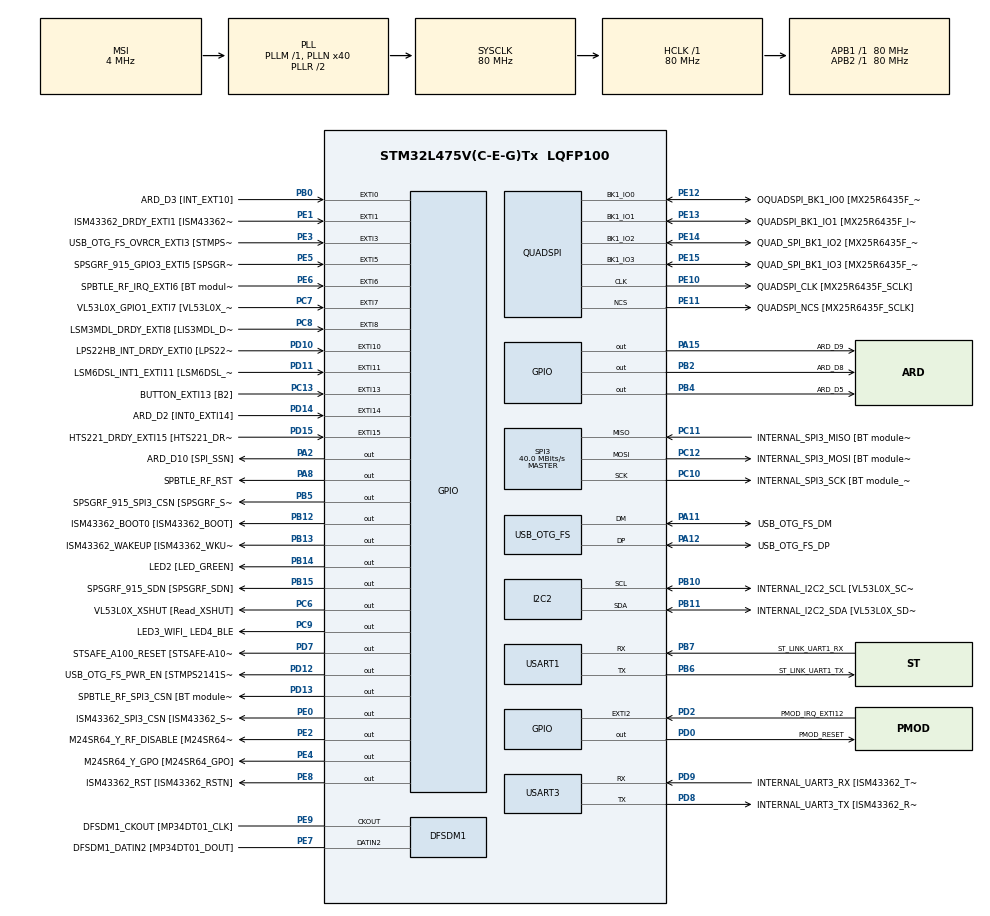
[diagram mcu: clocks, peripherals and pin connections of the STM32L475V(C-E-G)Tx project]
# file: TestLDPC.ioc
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Mcu.Family=STM32L4
Mcu.Name=STM32L475V(C-E-G)Tx
Mcu.Package=LQFP100
NVIC.EXTI15_10_IRQn=true\:0\:0\:false\:false\:true\:true\:true\:true
NVIC.EXTI9_5_IRQn=true\:0\:0\:false\:false\:true\:true\:true\:true
NVIC.PriorityGroup=NVIC_PRIORITYGROUP_4
PA0.GPIO_Label=ARD_D1 [UART4_TX]
PA0.Signal=UART4_TX
PA1.GPIO_Label=ARD_D0 [UART4_RX]
PA1.Signal=UART4_RX
PA10.GPIO_Label=USB_OTG_FS_ID
PA10.Signal=USB_OTG_FS_ID
PA11.GPIO_Label=USB_OTG_FS_DM
PA11.Mode=Device_Only
PA11.Signal=USB_OTG_FS_DM
PA12.GPIO_Label=USB_OTG_FS_DP
PA12.Mode=Device_Only
PA12.Signal=USB_OTG_FS_DP
PA13\ (JTMS-SWDIO).GPIO_Label=SYS_JTMS_SWDIO
PA13\ (JTMS-SWDIO).Mode=Serial_Wire
PA13\ (JTMS-SWDIO).Signal=SYS_JTMS-SWDIO
PA14\ (JTCK-SWCLK).GPIO_Label=SYS_JTCK_SWCLK
PA14\ (JTCK-SWCLK).Mode=Serial_Wire
PA14\ (JTCK-SWCLK).Signal=SYS_JTCK-SWCLK
PA15\ (JTDI).GPIO_Label=ARD_D9
PA15\ (JTDI).Signal=GPIO_Output
PA2.GPIO_Label=ARD_D10 [SPI_SSN]
PA2.Signal=GPIO_Output
PA3.GPIO_Label=ARD_D4
PA3.Signal=S_TIM2_CH4
PA4.GPIO_Label=ARD_D7
PA4.Signal=ADCx_IN9
PA5.GPIO_Label=ARD_D13 [SPI1_SCK]
PA5.Signal=SPI1_SCK
PA6.GPIO_Label=ARD_D12 [SPI1_MISO]
PA6.Signal=SPI1_MISO
PA7.GPIO_Label=ARD_D11 [SPI1_MOSI]
PA7.Signal=SPI1_MOSI
PA8.GPIO_Label=SPBTLE_RF_RST
PA8.Signal=GPIO_Output
PA9.GPIO_Label=USB_OTG_FS_VBUS [STMPS2141STR_OUT]
PA9.Signal=USB_OTG_FS_VBUS
PB0.GPIO_Label=ARD_D3 [INT_EXT10]
PB0.Signal=GPXTI0
PB1.GPIO_Label=ARD_D6 [ADC1_IN6]
PB1.Signal=ADCx_IN16
PB10.GPIO_Label=INTERNAL_I2C2_SCL [VL53L0X_SCL]
PB10.GPIO_Pu=GPIO_PULLUP
PB10.Mode=I2C
PB10.Signal=I2C2_SCL
PB11.GPIO_Label=INTERNAL_I2C2_SDA [VL53L0X_SDA]
PB11.GPIO_Pu=GPIO_PULLUP
PB11.Mode=I2C
PB11.Signal=I2C2_SDA
PB12.GPIO_Label=ISM43362_BOOT0 [ISM43362_BOOT]
PB12.Signal=GPIO_Output
PB13.GPIO_Label=ISM43362_WAKEUP [ISM43362_WKUP]
PB13.Signal=GPIO_Output
PB14.GPIO_Label=LED2 [LED_GREEN]
PB14.Signal=GPIO_Output
PB15.GPIO_Label=SPSGRF_915_SDN [SPSGRF_SDN]
PB15.Signal=GPIO_Output
PB2.GPIO_Label=ARD_D8
PB2.Signal=GPIO_Output
PB3\ (JTDO-TRACESWO).GPIO_Label=SYS_JTD0_SWO
PB3\ (JTDO-TRACESWO).Signal=SYS_JTDO-SWO
PB4\ (NJTRST).GPIO_Label=ARD_D5
PB4\ (NJTRST).Signal=GPIO_Output
PB5.GPIO_Label=SPSGRF_915_SPI3_CSN [SPSGRF_SPI_CS]
PB5.PinState=GPIO_PIN_SET
PB5.Signal=GPIO_Output
PB6.GPIO_Label=ST_LINK_UART1_TX
PB6.Mode=Asynchronous
PB6.Signal=USART1_TX
PB7.GPIO_Label=ST_LINK_UART1_RX
PB7.Mode=Asynchronous
PB7.Signal=USART1_RX
PB8.GPIO_Label=ARD_D15 [I2C1_SCL]
PB8.Signal=I2C1_SCL
PB9.GPIO_Label=ARD_D14 [I2C1_SDA]
PB9.Signal=I2C1_SDA
PC0.GPIO_Label=ARD_A5 [ADC]
PC0.Signal=ADCx_IN1
PC1.GPIO_Label=ARD_A4 [ADC]
PC1.Signal=ADCx_IN2
PC10.GPIO_Label=INTERNAL_SPI3_SCK [BT module_SPI_SCLK] [ISM43362_SCK]
PC10.Mode=Full_Duplex_Master
PC10.Signal=SPI3_SCK
PC11.GPIO_Label=INTERNAL_SPI3_MISO [BT module_SPI_MISO] [ISM43362_MISO]
PC11.Mode=Full_Duplex_Master
PC11.Signal=SPI3_MISO
PC12.GPIO_Label=INTERNAL_SPI3_MOSI [BT module_SPI_MOSI] [ISM43362_MOSI]
PC12.Mode=Full_Duplex_Master
PC12.Signal=SPI3_MOSI
PC13.GPIO_Label=BUTTON_EXTI13 [B2]
PC13.GPIO_ModeDefaultEXTI=GPIO_MODE_IT_FALLING
PC13.Signal=GPXTI13
PC14-OSC32_IN\ (PC14).Mode=LSE-External-Oscillator
PC14-OSC32_IN\ (PC14).Signal=RCC_OSC32_IN
PC15-OSC32_OUT\ (PC15).Mode=LSE-External-Oscillator
PC15-OSC32_OUT\ (PC15).Signal=RCC_OSC32_OUT
PC2.GPIO_Label=ARD_A3 [ADC]
PC2.Signal=ADCx_IN3
PC3.GPIO_Label=ARD_A2 [ADC]
PC3.Signal=ADCx_IN4
PC4.GPIO_Label=ARD_A1 [ADC]
PC4.Signal=ADCx_IN13
PC5.GPIO_Label=ARD_A0 [ADC]
PC5.Signal=ADCx_IN14
PC6.GPIO_Label=VL53L0X_XSHUT [Read_XSHUT]
PC6.Signal=GPIO_Output
PC7.GPIO_Label=VL53L0X_GPIO1_EXTI7 [VL53L0X_GPIO1]
PC7.Signal=GPXTI7
PC8.GPIO_Label=LSM3MDL_DRDY_EXTI8 [LIS3MDL_DRDY]
PC8.Signal=GPXTI8
PC9.GPIO_Label=LED3_WIFI_ LED4_BLE
PC9.Signal=GPIO_Output
PD0.GPIO_Label=PMOD_RESET
PD0.Signal=GPIO_Output
PD1.GPIO_Label=PMOD_SPI2_SCK
PD1.Signal=SPI2_SCK
PD10.GPIO_Label=LPS22HB_INT_DRDY_EXTI0 [LPS22HB_INT_DRDY] 
PD10.Signal=GPXTI10
PD11.GPIO_Label=LSM6DSL_INT1_EXTI11 [LSM6DSL_INT1]
PD11.Signal=GPXTI11
PD12.GPIO_Label=USB_OTG_FS_PWR_EN [STMPS2141STR_EN]
PD12.Signal=GPIO_Output
PD13.GPIO_Label=SPBTLE_RF_SPI3_CSN [BT module_SPI_CS]
PD13.PinState=GPIO_PIN_SET
PD13.Signal=GPIO_Output
PD14.GPIO_Label=ARD_D2 [INT0_EXTI14]
PD14.Signal=GPXTI14
PD15.GPIO_Label=HTS221_DRDY_EXTI15 [HTS221_DRDY]
PD15.Signal=GPXTI15
PD2.GPIO_Label=PMOD_IRQ_EXTI12
PD2.Signal=GPXTI2
PD3.GPIO_Label=PMOD_UART2_CTS
PD3.Signal=USART2_CTS
PD4.GPIO_Label=PMOD_UART2_RTS
PD4.Signal=USART2_RTS
PD5.GPIO_Label=PMOD_UART2_TX
PD5.Signal=USART2_TX
PD6.GPIO_Label=PMOD_UART2_RX
PD6.Signal=USART2_RX
PD7.GPIO_Label=STSAFE_A100_RESET [STSAFE-A100_RESET]
PD7.Signal=GPIO_Output
PD8.GPIO_Label=INTERNAL_UART3_TX [ISM43362_RX]
PD8.Mode=Asynchronous
PD8.Signal=USART3_TX
PD9.GPIO_Label=INTERNAL_UART3_RX [ISM43362_TX]
PD9.Mode=Asynchronous
PD9.Signal=USART3_RX
PE0.GPIO_Label=ISM43362_SPI3_CSN [ISM43362_SSN]
PE0.PinState=GPIO_PIN_SET
PE0.Signal=GPIO_Output
PE1.GPIO_Label=ISM43362_DRDY_EXTI1 [ISM43362_DATARDY]
PE1.Signal=GPXTI1
PE10.GPIO_Label=QUADSPI_CLK [MX25R6435F_SCLK]
PE10.Mode=Single Bank
PE10.Signal=QUADSPI_CLK
PE11.GPIO_Label=QUADSPI_NCS [MX25R6435F_SCLK]
PE11.Mode=Single Bank
PE11.Signal=QUADSPI_NCS
PE12.GPIO_Label=OQUADSPI_BK1_IO0 [MX25R6435F_IO0]
PE12.Mode=Single Bank
PE12.Signal=QUADSPI_BK1_IO0
PE13.GPIO_Label=QUADSPI_BK1_IO1 [MX25R6435F_IO1]
PE13.Mode=Single Bank
PE13.Signal=QUADSPI_BK1_IO1
PE14.GPIO_Label=QUAD_SPI_BK1_IO2 [MX25R6435F_IO2]
PE14.Mode=Single Bank
PE14.Signal=QUADSPI_BK1_IO2
PE15.GPIO_Label=QUAD_SPI_BK1_IO3 [MX25R6435F_IO3]
PE15.Mode=Single Bank
PE15.Signal=QUADSPI_BK1_IO3
PE2.GPIO_Label=M24SR64_Y_RF_DISABLE [M24SR64_RFDIS]
PE2.Signal=GPIO_Output
PE3.GPIO_Label=USB_OTG_FS_OVRCR_EXTI3 [STMPS2141STR_FAULT]
PE3.Signal=GPXTI3
PE4.GPIO_Label=M24SR64_Y_GPO [M24SR64_GPO]
PE4.Signal=GPIO_Output
PE5.GPIO_Label=SPSGRF_915_GPIO3_EXTI5 [SPSGRF_GPIO_3]
PE5.Signal=GPXTI5
PE6.GPIO_Label=SPBTLE_RF_IRQ_EXTI6 [BT module_SPI_IRQ]
PE6.Signal=GPXTI6
PE7.GPIO_Label=DFSDM1_DATIN2 [MP34DT01_DOUT]
PE7.Signal=S_DATAIN2DFSDM1
PE8.GPIO_Label=ISM43362_RST [ISM43362_RSTN]
PE8.Signal=GPIO_Output
PE9.GPIO_Label=DFSDM1_CKOUT [MP34DT01_CLK]
PE9.Signal=S_CKOUTDFSDM1
ProjectManager.HeapSize=0x200
ProjectManager.StackSize=0x400
ProjectManager.TargetToolchain=STM32CubeIDE
QUADSPI.ClockPrescaler=2
QUADSPI.FifoThreshold=4
QUADSPI.FlashSize=23
QUADSPI.SampleShifting=QSPI_SAMPLE_SHIFTING_HALFCYCLE
RCC.ADCFreq_Value=48000000
RCC.AHBFreq_Value=80000000
RCC.APB1Freq_Value=80000000
RCC.APB1TimFreq_Value=80000000
RCC.APB2Freq_Value=80000000
RCC.APB2TimFreq_Value=80000000
RCC.CortexFreq_Value=80000000
RCC.HCLKFreq_Value=80000000
RCC.HSE_VALUE=8000000
RCC.HSI_VALUE=16000000
RCC.MSI_VALUE=4000000
RCC.PLLN=40
RCC.PLLSAI1N=24
RCC.SYSCLKFreq_VALUE=80000000
RCC.SYSCLKSource=RCC_SYSCLKSOURCE_PLLCLK
RCC.USBFreq_Value=48000000
RCC.VCOOutputFreq_Value=160000000
SH.ADCx_IN1.0=ADC1_IN1
SH.ADCx_IN13.0=ADC1_IN13
SH.ADCx_IN14.0=ADC1_IN14
SH.ADCx_IN16.0=ADC1_IN16
SH.ADCx_IN2.0=ADC1_IN2
SH.ADCx_IN3.0=ADC1_IN3
SH.ADCx_IN4.0=ADC1_IN4
SH.ADCx_IN9.0=ADC1_IN9
SH.S_CKOUTDFSDM1.0=DFSDM1_CKOUT,CKOUT
SH.S_CKOUTDFSDM1.1=DFSDM1_CKOUT,PDM_SPI_Input_from_ch12_and_Internal_Clock
SH.S_DATAIN2DFSDM1.0=DFSDM1_DATIN2,PDM_SPI_Input_from_ch12_and_Internal_Clock
SH.S_TIM2_CH4.0=TIM2_CH4
SPI3.CalculateBaudRate=40.0 MBits/s
SPI3.Direction=SPI_DIRECTION_2LINES
SPI3.Mode=SPI_MODE_MASTER
SPI3.VirtualType=VM_MASTER
USART1.VirtualMode-Asynchronous=VM_ASYNC
USART3.VirtualMode-Asynchronous=VM_ASYNC
USB_OTG_FS.VirtualMode=Device_Only
board=B-L475E-IOT01A1

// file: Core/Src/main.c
/* USER CODE BEGIN Header */
/**
  ******************************************************************************
  * @file           : main.c
  * @brief          : Main program body
  ******************************************************************************
  * @attention
  *
  * Copyright (c) 2025 STMicroelectronics.
  * All rights reserved.
  *
  * This software is licensed under terms that can be found in the LICENSE file
  * in the root directory of this software component.
  * If no LICENSE file comes with this software, it is provided AS-IS.
  *
  ******************************************************************************
  */
/* USER CODE END Header */
#include "main.h"

/* USER CODE BEGIN Includes */
#include <LDPC.h>
#include <stdio.h>
/* USER CODE END Includes */

DFSDM_Channel_HandleTypeDef hdfsdm1_channel1;

I2C_HandleTypeDef hi2c2;

QSPI_HandleTypeDef hqspi;

SPI_HandleTypeDef hspi3;

UART_HandleTypeDef huart1;
UART_HandleTypeDef huart3;

PCD_HandleTypeDef hpcd_USB_OTG_FS;

void SystemClock_Config(void);
static void MX_GPIO_Init(void);
static void MX_DFSDM1_Init(void);
static void MX_I2C2_Init(void);
static void MX_QUADSPI_Init(void);
static void MX_SPI3_Init(void);
static void MX_USART1_UART_Init(void);
static void MX_USART3_UART_Init(void);
static void MX_USB_OTG_FS_PCD_Init(void);
/* USER CODE BEGIN PFP */

#define PUTCHAR_PROTOTYPE int __io_putchar(int ch)

/* USER CODE END PFP */

int main(void)
{

  /* MCU Configuration--------------------------------------------------------*/

  /* Reset of all peripherals, Initializes the Flash interface and the Systick. */
  HAL_Init();

  /* Configure the system clock */
  SystemClock_Config();

  /* Initialize all configured peripherals */
  MX_GPIO_Init();
  MX_DFSDM1_Init();
  MX_I2C2_Init();
  MX_QUADSPI_Init();
  MX_SPI3_Init();
  MX_USART1_UART_Init();
  MX_USART3_UART_Init();
  MX_USB_OTG_FS_PCD_Init();

  /* Infinite loop */
  /* USER CODE BEGIN WHILE */

#define CODEWORD_SIZE 128
#define MAX_ITERS 5

#if (CODEWORD_SIZE == 32)
  #define LQ_SIZE 272

  static float Lq [LQ_SIZE] = {0, 0, 0, 0, 0, 0, 0, 0, 0, 0, 0, 0, 0, 0, 0, 0, 1, 1, -1, 1, -1, 1, -1, -1, -1, 1, -1, -1, 1, 1, -1, 1, -1, 1, -1, -1, -1, -1, 1, 1, -1,
                        1, 1, 1, 1, 1, -1, 1, -1, -1, 1, -1, 1, 1, -1, 1, 1, -1, -1, -1, 1, 1, -1, 1, -1, -1, -1, 1, 1, 1, -1, 1, 1, -1, 1, -1, 1, 1, -1, -1, -1,
                        -1, 1, 1, 1, -1, 1, -1, 1, -1, -1, -1, 1, 1, -1, 1, -1, 1, 1, -1, 1, -1, 1, 1, -1, 1, 1, -1, -1, -1, -1, 1, -1, -1, 1, 1, 1, 1, -1, 1, -1,
                        1, -1, 1, -1, -1, -1, 1, -1, 1, 1, -1, -1, 1, -1, 1, 1, 1, 1, 1, -1, 1, -1, 1, -1, -1, 1, 1, -1, 1, 1, -1, -1, -1, -1, 1, -1, -1, -1, 1, -1,
                        -1, -1, -1, -1, -1, 1, 1, 1, -1, -1, -1, 1, 1, 1, -1, -1, -1, -1, 1, -1, -1, 1, 1, -1, -1, -1, -1, 1, -1, 1, -1, -1, 1, -1, -1, -1, 1, 1, -1,
                        1, 1, 1, 1, 1, 1, -1, 1, 1, -1, -1, -1, -1, 1, 1, 1, -1, 1, -1, -1, 1, 1, -1, 1, 1, -1, -1, 1, 1, -1, -1, -1, 1, 1, 1, -1, 1, 1, -1, 1, -1, -1,
                        -1, -1, -1, 1, -1, -1, -1, -1, 1, 1, -1, 1, -1, -1, -1, -1, -1, 1, -1, -1, 1, -1, 1, 1, 1, 1, 1, -1, -1, 1};

#else
	#if (CODEWORD_SIZE == 64)
  	#define LQ_SIZE 272*2

  	static float Lq [LQ_SIZE] = {0, 0, 0, 0, 0, 0, 0, 0, 0, 0, 0, 0, 0, 0, 0, 0, 0, 0, 0, 0, 0, 0, 0, 0, 0, 0, 0, 0, 0, 0, 0, 0, -1, 1, -1, -1, -1, -1, 1, 1, -1, 1, 1,
  			  	  	  	  	  	 1, 1, 1, -1, 1, -1, -1, 1, -1, 1, 1, -1, 1, 1, -1, -1, -1, 1, 1, -1, 1, -1, -1, -1, 1, 1, 1, -1, 1, 1, -1, 1, -1, 1, 1, -1, -1, -1, -1,
								 1, 1, 1, -1, 1, -1, 1, -1, -1, -1, 1, 1, -1, 1, -1, 1, 1, -1, 1, -1, 1, 1, -1, 1, 1, -1, -1, -1, -1, 1, -1, -1, 1, 1, 1, 1, -1, 1, -1,
								 1, -1, 1, -1, -1, -1, 1, -1, 1, 1, -1, -1, 1, -1, 1, 1, 1, 1, 1, -1, 1, -1, 1, -1, -1, 1, 1, -1, 1, 1, -1, -1, -1, -1, 1, -1, -1, -1,
								 1, -1, -1, -1, -1, -1, -1, 1, 1, 1, -1, -1, -1, 1, 1, 1, -1, -1, -1, -1, 1, -1, -1, 1, 1, -1, -1, -1, -1, 1, -1, 1, -1, -1, 1, -1, -1,
								 -1, 1, 1, -1, 1, 1, 1, 1, 1, 1, -1, 1, 1, -1, -1, -1, -1, 1, 1, 1, -1, 1, -1, -1, 1, 1, -1, 1, 1, -1, -1, 1, 1, -1, -1, -1, 1, 1, 1, -1,
								 1, 1, -1, 1, -1, -1, -1, -1, -1, 1, -1, -1, -1, -1, 1, 1, -1, 1, -1, -1, -1, -1, -1, 1, -1, -1, 1, -1, 1, 1, 1, 1, 1, -1, -1, 1, 1, 1, 1,
								 1, 1, 1, 1, 1, 1, 1, 1, 1, 1, 1, 1, 1, 1, 1, 1, 1, 1, 1, 1, 1, 1, 1, 1, 1, 1, 1, 1, 1, 1, 1, 1, 1, 1, 1, 1, 1, 1, 1, 1, 1, 1, 1, 1, 1, 1,
								 1, 1, 1, 1, 1, 1, 1, 1, 1, 1, 1, 1, 1, 1, 1, 1, 1, 1, 1, 1, 1, 1, 1, 1, 1, 1, 1, 1, 1, 1, 1, -1, 1, -1, 1, 1, 1, 1, -1, 1, 1, 1, -1, 1, -1,
								 1, 1, 1, 1, 1, 1, -1, -1, -1, -1, -1, -1, -1, 1, -1, -1, -1, -1, -1, -1, 1, -1, 1, -1, 1, -1, -1, 1, -1, -1, -1, -1, 1, -1, -1, 1, -1, -1,
								 -1, 1, 1, -1, 1, -1, -1, -1, -1, -1, -1, 1, -1, 1, -1, -1, 1, 1, -1, 1, 1, -1, 1, -1, -1, 1, 1, -1, -1, -1, 1, -1, 1, 1, -1, 1, -1, 1, 1, 1,
								 -1, 1, -1, 1, -1, 1, 1, -1, -1, 1, 1, -1, -1, 1, 1, -1, 1, 1, 1, -1, 1, 1, 1, 1, -1, 1, -1, 1, -1, 1, 1, 1, 1, -1, -1, 1, 1, -1, 1, 1, -1, 1,
								 1, 1, 1, 1, 1, 1, 1, 1, 1, 1, -1, 1, 1, -1, -1, -1, -1, 1, -1, -1, -1, 1, -1, -1, -1, 1, -1, 1, -1, 1, -1, 1, 1, 1, 1, -1, 1, 1, -1, 1, 1, -1,
								 1, 1, 1, 1, 1, 1, -1, 1, -1, -1, -1, -1, -1, 1, 1, 1};

	#else
	#define LQ_SIZE 272*4

  	static float Lq [LQ_SIZE] = {0, 0, 0, 0, 0, 0, 0, 0, 0, 0, 0, 0, 0, 0, 0, 0, 0, 0, 0, 0, 0, 0, 0, 0, 0, 0, 0, 0, 0, 0, 0, 0, 0, 0, 0, 0, 0, 0, 0, 0, 0, 0, 0, 0, 0, 0, 0, 0,
  			  	  	  	  	  	 0, 0, 0, 0, 0, 0, 0, 0, 0, 0, 0, 0, 0, 0, 0, 0, -1, -1, -1, 1, 1, 1, -1, 1, 1, -1, 1, -1, 1, 1, -1, -1, -1, -1, 1, 1, 1, -1, 1, -1, 1, -1, -1,
								 -1, 1, 1, -1, 1, -1, 1, 1, -1, 1, -1, 1, 1, -1, 1, 1, -1, -1, -1, -1, 1, -1, -1, 1, 1, 1, 1, -1, 1, -1, 1, -1, 1, -1, -1, -1, 1, -1, 1, 1, -1,
								 -1, 1, -1, 1, 1, 1, 1, 1, -1, 1, -1, 1, -1, -1, 1, 1, -1, 1, 1, -1, -1, -1, -1, 1, -1, -1, -1, 1, -1, -1, -1, -1, -1, -1, 1, 1, 1, -1, -1, -1,
								 1, 1, 1, -1, -1, -1, -1, 1, -1, -1, 1, 1, -1, -1, -1, -1, 1, -1, 1, -1, -1, 1, -1, -1, -1, 1, 1, -1, 1, 1, 1, 1, 1, 1, -1, 1, 1, -1, -1, -1, -1,
								 1, 1, 1, -1, 1, -1, -1, 1, 1, -1, 1, 1, -1, -1, 1, 1, -1, -1, -1, 1, 1, 1, -1, 1, 1, -1, 1, -1, -1, -1, -1, -1, 1, -1, -1, -1, -1, 1, 1, -1, 1,
								 -1, -1, -1, -1, -1, 1, -1, -1, 1, -1, 1, 1, 1, 1, 1, -1, -1, 1, 1, 1, 1, 1, 1, 1, 1, 1, 1, 1, 1, 1, 1, 1, 1, 1, 1, 1, 1, 1, 1, 1, 1, 1, 1, 1, 1,
								 1, 1, 1, 1, 1, 1, 1, 1, 1, 1, 1, 1, 1, 1, 1, 1, 1, 1, 1, 1, 1, 1, 1, 1, 1, 1, 1, 1, 1, 1, 1, 1, 1, 1, 1, 1, 1, 1, 1, 1, 1, 1, 1, 1, 1, 1, 1, 1,
								 1, 1, 1, 1, 1, -1, 1, -1, 1, 1, 1, 1, -1, 1, 1, 1, -1, 1, -1, 1, 1, 1, 1, 1, 1, -1, -1, -1, -1, -1, -1, -1, 1, -1, -1, -1, -1, -1, -1, 1, -1, 1,
								 -1, 1, -1, -1, 1, -1, -1, -1, -1, 1, -1, -1, 1, -1, -1, -1, 1, 1, -1, 1, -1, -1, -1, -1, -1, -1, 1, -1, 1, -1, -1, 1, 1, -1, 1, 1, -1, 1, -1, -1,
								 1, 1, -1, -1, -1, 1, -1, 1, 1, -1, 1, -1, 1, 1, 1, -1, 1, -1, 1, -1, 1, 1, -1, -1, 1, 1, -1, -1, 1, 1, -1, 1, 1, 1, -1, 1, 1, 1, 1, -1, 1, -1, 1,
								 -1, 1, 1, 1, 1, -1, -1, 1, 1, -1, 1, 1, -1, 1, 1, 1, 1, 1, 1, 1, 1, 1, 1, 1, -1, 1, 1, -1, -1, -1, -1, 1, -1, -1, -1, 1, -1, -1, -1, 1, -1, 1, -1,
								 1, -1, 1, 1, 1, 1, -1, 1, 1, -1, 1, 1, -1, 1, 1, 1, 1, 1, 1, -1, 1, -1, -1, -1, -1, -1, 1, 1, 1, 1, 1, 1, 1, 1, 1, 1, 1, 1, 1, 1, 1, 1, 1, 1, 1, 1,
								 1, 1, 1, 1, 1, 1, 1, 1, 1, 1, 1, 1, 1, 1, 1, 1, 1, 1, 1, 1, 1, 1, 1, 1, 1, 1, 1, 1, 1, 1, 1, 1, 1, 1, 1, 1, 1, 1, 1, 1, 1, 1, 1, 1, 1, 1, 1, 1, 1,
								 1, 1, 1, 1, 1, 1, 1, 1, 1, 1, 1, 1, 1, 1, 1, 1, 1, 1, 1, 1, 1, 1, 1, 1, 1, 1, 1, 1, 1, 1, 1, 1, 1, 1, 1, 1, 1, 1, 1, 1, 1, 1, 1, 1, 1, 1, 1, 1, 1,
								 1, 1, 1, 1, 1, 1, 1, 1, 1, 1, 1, 1, 1, 1, 1, 1, 1, 1, 1, 1, 1, 1, 1, 1, 1, 1, 1, 1, 1, 1, 1, 1, 1, 1, 1, 1, 1, 1, 1, 1, 1, 1, 1, 1, 1, 1, -1, -1,
								 -1, 1, -1, 1, -1, 1, 1, 1, -1, -1, 1, -1, 1, -1, 1, 1, -1, 1, -1, -1, -1, -1, -1, -1, 1, -1, -1, 1, -1, 1, -1, 1, -1, -1, 1, -1, 1, -1, 1, 1, -1,
								 -1, 1, 1, -1, -1, 1, 1, 1, -1, 1, -1, 1, 1, -1, -1, 1, -1, 1, 1, -1, 1, 1, -1, -1, -1, 1, 1, 1, -1, 1, 1, 1, -1, 1, -1, 1, 1, 1, -1, -1, 1, 1, 1,
								 -1, 1, -1, 1, 1, -1, -1, -1, 1, 1, -1, -1, 1, -1, -1, 1, -1, -1, 1, 1, -1, -1, -1, 1, 1, -1, 1, 1, 1, 1, 1, 1, -1, -1, 1, -1, 1, 1, -1, 1, 1, 1, -1,
								 -1, -1, -1, -1, -1, 1, 1, -1, -1, 1, 1, -1, -1, -1, -1, -1, 1, -1, -1, 1, 1, -1, -1, -1, 1, -1, -1, 1, 1, -1, -1, -1, 1, -1, 1, 1, 1, -1, 1, 1, 1,
								 -1, -1, 1, 1, -1, -1, -1, -1, -1, -1, 1, 1, 1, 1, 1, -1, -1, 1, 1, 1, 1, -1, -1, 1, -1, 1, -1, 1, -1, -1, -1, 1, -1, -1, -1, -1, 1, 1, -1, 1, -1,
								 1, -1, -1, -1, 1, -1, -1, 1, -1, 1, -1, -1, -1, -1, -1, 1, -1, -1, -1, 1, -1, -1, 1, 1, -1, 1, 1, 1, 1, 1, 1, -1, 1, -1, -1, 1, -1, 1, 1, 1, -1, -1,
								 -1, 1, 1, -1, -1, 1, 1, 1, -1, 1, 1, -1, -1, -1, 1, 1, 1, 1, 1, -1, 1, -1, 1, -1, -1, -1, -1, -1, 1, 1, -1, -1, 1, 1, 1, -1, 1, -1, -1, 1, 1, 1, -1,
								 -1, -1, 1, -1, -1, 1, 1, 1, -1, -1, -1, 1, -1, -1, -1, -1, -1, 1, -1, -1, 1, 1, 1, 1, 1, -1, 1, 1, -1, 1, 1, 1, -1, 1, 1, 1, -1, -1, 1, -1, 1, 1, -1,
								 1, 1, 1, -1, 1, 1, 1, -1, 1, 1, -1, 1, 1, -1, -1, -1, -1, 1, 1, 1, 1, 1, 1, 1, -1, 1, 1, -1, 1, 1, 1, 1, -1, 1, -1, -1, 1, 1, 1, -1, -1, 1, -1, -1};
	#endif
#endif

  static uint8_t actual_codeword [] = {111, 89, 212, 77, 61, 65, 75, 78, 71, 202,
                                       163, 78, 41, 121, 67, 117, 89, 80, 147, 119,
                                       63, 142, 55, 175, 157, 64, 30, 77, 230, 72,
                                       223, 211, 183, 96, 0, 0, 0, 0, 0, 0, 0, 0, 0,
									     0, 133, 40, 240, 247, 171, 189, 157, 126,
										77, 154, 75, 81, 153, 137, 80, 97, 18, 0, 121,
										119, 21, 146, 64, 31, 0, 0, 0, 0, 0, 0, 0, 0,
									     0, 0, 0, 0, 0, 0, 0, 0, 0, 0, 0, 0, 174, 88,
									   233, 183, 90, 153, 81, 150, 28, 81, 140, 114,
									   182, 57, 129, 37, 126, 230, 155, 155, 139, 152, 31,
									    12, 171, 123, 234, 214, 119, 19, 104, 113, 70,
									    14, 234, 51, 26, 55, 238, 27, 36, 98, 137, 72,
									    30, 144, 208, 216};

  LDPC_init ();

  static uint8_t decoded [MAX_CODE_LEN*8] = {0};

  for (int i = 40; i < 64; i++) { //Introduce errors here
      Lq [i] *= -0.1f;
  }

  uint16_t num_iters;

  uint32_t tick, tock;

  tick = HAL_GetTick();

  //uint8_t parity_check_fails = LDPC_decode (Lq, sizeof(Lq)/sizeof(float), decoded, 50, &num_iters);
  uint8_t parity_check_fails = LDPC_decode (Lq, LQ_SIZE, decoded, MAX_ITERS, &num_iters);

  tock = HAL_GetTick();

  printf ("LDPC Decoder: %ld ms \r\n", tock-tick);

  printf ("Parity check fails: %d\r\nNumber of iterations: %d\r\n\r\n", parity_check_fails, num_iters);

  printf ("Codeword:");
  for (int i = 0; i<BG1_COLS*CODEWORD_SIZE/32; i++) {
      if (i % 10 == 0) {
          printf ("\r\n");
      }
      printf ("%d, ", decoded [i]);
  }
  printf ("\r\n");

  for (int i =0; i < BG1_COLS*CODEWORD_SIZE/32; i++) {

      if (decoded [i] != actual_codeword [i]) {
          printf ("Decoding unsuccessful at %d\r\n", i);
          break;
      }
  }
  while (1)
  {
    /* USER CODE END WHILE */

    /* USER CODE BEGIN 3 */
  //HAL_GPIO_TogglePin(LED2_GPIO_Port, LED2_Pin);
  //HAL_Delay(500);
  }
  /* USER CODE END 3 */
}

void SystemClock_Config(void)
{
  RCC_OscInitTypeDef RCC_OscInitStruct = {0};
  RCC_ClkInitTypeDef RCC_ClkInitStruct = {0};

  /** Configure the main internal regulator output voltage
  */
  if (HAL_PWREx_ControlVoltageScaling(PWR_REGULATOR_VOLTAGE_SCALE1) != HAL_OK)
  {
    Error_Handler();
  }

  /** Configure LSE Drive Capability
  */
  HAL_PWR_EnableBkUpAccess();
  __HAL_RCC_LSEDRIVE_CONFIG(RCC_LSEDRIVE_LOW);

  /** Initializes the RCC Oscillators according to the specified parameters
  * in the RCC_OscInitTypeDef structure.
  */
  RCC_OscInitStruct.OscillatorType = RCC_OSCILLATORTYPE_LSE|RCC_OSCILLATORTYPE_MSI;
  RCC_OscInitStruct.LSEState = RCC_LSE_ON;
  RCC_OscInitStruct.MSIState = RCC_MSI_ON;
  RCC_OscInitStruct.MSICalibrationValue = 0;
  RCC_OscInitStruct.MSIClockRange = RCC_MSIRANGE_6;
  RCC_OscInitStruct.PLL.PLLState = RCC_PLL_ON;
  RCC_OscInitStruct.PLL.PLLSource = RCC_PLLSOURCE_MSI;
  RCC_OscInitStruct.PLL.PLLM = 1;
  RCC_OscInitStruct.PLL.PLLN = 40;
  RCC_OscInitStruct.PLL.PLLP = RCC_PLLP_DIV7;
  RCC_OscInitStruct.PLL.PLLQ = RCC_PLLQ_DIV2;
  RCC_OscInitStruct.PLL.PLLR = RCC_PLLR_DIV2;
  if (HAL_RCC_OscConfig(&RCC_OscInitStruct) != HAL_OK)
  {
    Error_Handler();
  }

  /** Initializes the CPU, AHB and APB buses clocks
  */
  RCC_ClkInitStruct.ClockType = RCC_CLOCKTYPE_HCLK|RCC_CLOCKTYPE_SYSCLK
                              |RCC_CLOCKTYPE_PCLK1|RCC_CLOCKTYPE_PCLK2;
  RCC_ClkInitStruct.SYSCLKSource = RCC_SYSCLKSOURCE_PLLCLK;
  RCC_ClkInitStruct.AHBCLKDivider = RCC_SYSCLK_DIV1;
  RCC_ClkInitStruct.APB1CLKDivider = RCC_HCLK_DIV1;
  RCC_ClkInitStruct.APB2CLKDivider = RCC_HCLK_DIV1;

  if (HAL_RCC_ClockConfig(&RCC_ClkInitStruct, FLASH_LATENCY_4) != HAL_OK)
  {
    Error_Handler();
  }

  /** Enable MSI Auto calibration
  */
  HAL_RCCEx_EnableMSIPLLMode();
}

static void MX_DFSDM1_Init(void)
{

  hdfsdm1_channel1.Instance = DFSDM1_Channel1;
  hdfsdm1_channel1.Init.OutputClock.Activation = ENABLE;
  hdfsdm1_channel1.Init.OutputClock.Selection = DFSDM_CHANNEL_OUTPUT_CLOCK_SYSTEM;
  hdfsdm1_channel1.Init.OutputClock.Divider = 2;
  hdfsdm1_channel1.Init.Input.Multiplexer = DFSDM_CHANNEL_EXTERNAL_INPUTS;
  hdfsdm1_channel1.Init.Input.DataPacking = DFSDM_CHANNEL_STANDARD_MODE;
  hdfsdm1_channel1.Init.Input.Pins = DFSDM_CHANNEL_FOLLOWING_CHANNEL_PINS;
  hdfsdm1_channel1.Init.SerialInterface.Type = DFSDM_CHANNEL_SPI_RISING;
  hdfsdm1_channel1.Init.SerialInterface.SpiClock = DFSDM_CHANNEL_SPI_CLOCK_INTERNAL;
  hdfsdm1_channel1.Init.Awd.FilterOrder = DFSDM_CHANNEL_FASTSINC_ORDER;
  hdfsdm1_channel1.Init.Awd.Oversampling = 1;
  hdfsdm1_channel1.Init.Offset = 0;
  hdfsdm1_channel1.Init.RightBitShift = 0x00;
  if (HAL_DFSDM_ChannelInit(&hdfsdm1_channel1) != HAL_OK)
  {
    Error_Handler();
  }

}

static void MX_I2C2_Init(void)
{

  hi2c2.Instance = I2C2;
  hi2c2.Init.Timing = 0x00000E14;
  hi2c2.Init.OwnAddress1 = 0;
  hi2c2.Init.AddressingMode = I2C_ADDRESSINGMODE_7BIT;
  hi2c2.Init.DualAddressMode = I2C_DUALADDRESS_DISABLE;
  hi2c2.Init.OwnAddress2 = 0;
  hi2c2.Init.OwnAddress2Masks = I2C_OA2_NOMASK;
  hi2c2.Init.GeneralCallMode = I2C_GENERALCALL_DISABLE;
  hi2c2.Init.NoStretchMode = I2C_NOSTRETCH_DISABLE;
  if (HAL_I2C_Init(&hi2c2) != HAL_OK)
  {
    Error_Handler();
  }

  /** Configure Analogue filter
  */
  if (HAL_I2CEx_ConfigAnalogFilter(&hi2c2, I2C_ANALOGFILTER_ENABLE) != HAL_OK)
  {
    Error_Handler();
  }

  /** Configure Digital filter
  */
  if (HAL_I2CEx_ConfigDigitalFilter(&hi2c2, 0) != HAL_OK)
  {
    Error_Handler();
  }

}

static void MX_QUADSPI_Init(void)
{

  /* QUADSPI parameter configuration*/
  hqspi.Instance = QUADSPI;
  hqspi.Init.ClockPrescaler = 2;
  hqspi.Init.FifoThreshold = 4;
  hqspi.Init.SampleShifting = QSPI_SAMPLE_SHIFTING_HALFCYCLE;
  hqspi.Init.FlashSize = 23;
  hqspi.Init.ChipSelectHighTime = QSPI_CS_HIGH_TIME_1_CYCLE;
  hqspi.Init.ClockMode = QSPI_CLOCK_MODE_0;
  if (HAL_QSPI_Init(&hqspi) != HAL_OK)
  {
    Error_Handler();
  }

}

static void MX_SPI3_Init(void)
{

  /* SPI3 parameter configuration*/
  hspi3.Instance = SPI3;
  hspi3.Init.Mode = SPI_MODE_MASTER;
  hspi3.Init.Direction = SPI_DIRECTION_2LINES;
  hspi3.Init.DataSize = SPI_DATASIZE_4BIT;
  hspi3.Init.CLKPolarity = SPI_POLARITY_LOW;
  hspi3.Init.CLKPhase = SPI_PHASE_1EDGE;
  hspi3.Init.NSS = SPI_NSS_SOFT;
  hspi3.Init.BaudRatePrescaler = SPI_BAUDRATEPRESCALER_2;
  hspi3.Init.FirstBit = SPI_FIRSTBIT_MSB;
  hspi3.Init.TIMode = SPI_TIMODE_DISABLE;
  hspi3.Init.CRCCalculation = SPI_CRCCALCULATION_DISABLE;
  hspi3.Init.CRCPolynomial = 7;
  hspi3.Init.CRCLength = SPI_CRC_LENGTH_DATASIZE;
  hspi3.Init.NSSPMode = SPI_NSS_PULSE_ENABLE;
  if (HAL_SPI_Init(&hspi3) != HAL_OK)
  {
    Error_Handler();
  }

}

static void MX_USART1_UART_Init(void)
{

  huart1.Instance = USART1;
  huart1.Init.BaudRate = 115200;
  huart1.Init.WordLength = UART_WORDLENGTH_8B;
  huart1.Init.StopBits = UART_STOPBITS_1;
  huart1.Init.Parity = UART_PARITY_NONE;
  huart1.Init.Mode = UART_MODE_TX_RX;
  huart1.Init.HwFlowCtl = UART_HWCONTROL_NONE;
  huart1.Init.OverSampling = UART_OVERSAMPLING_16;
  huart1.Init.OneBitSampling = UART_ONE_BIT_SAMPLE_DISABLE;
  huart1.AdvancedInit.AdvFeatureInit = UART_ADVFEATURE_NO_INIT;
  if (HAL_UART_Init(&huart1) != HAL_OK)
  {
    Error_Handler();
  }

}

static void MX_USART3_UART_Init(void)
{

  huart3.Instance = USART3;
  huart3.Init.BaudRate = 115200;
  huart3.Init.WordLength = UART_WORDLENGTH_8B;
  huart3.Init.StopBits = UART_STOPBITS_1;
  huart3.Init.Parity = UART_PARITY_NONE;
  huart3.Init.Mode = UART_MODE_TX_RX;
  huart3.Init.HwFlowCtl = UART_HWCONTROL_NONE;
  huart3.Init.OverSampling = UART_OVERSAMPLING_16;
  huart3.Init.OneBitSampling = UART_ONE_BIT_SAMPLE_DISABLE;
  huart3.AdvancedInit.AdvFeatureInit = UART_ADVFEATURE_NO_INIT;
  if (HAL_UART_Init(&huart3) != HAL_OK)
  {
    Error_Handler();
  }

}

static void MX_USB_OTG_FS_PCD_Init(void)
{

  hpcd_USB_OTG_FS.Instance = USB_OTG_FS;
  hpcd_USB_OTG_FS.Init.dev_endpoints = 6;
  hpcd_USB_OTG_FS.Init.speed = PCD_SPEED_FULL;
  hpcd_USB_OTG_FS.Init.phy_itface = PCD_PHY_EMBEDDED;
  hpcd_USB_OTG_FS.Init.Sof_enable = DISABLE;
  hpcd_USB_OTG_FS.Init.low_power_enable = DISABLE;
  hpcd_USB_OTG_FS.Init.lpm_enable = DISABLE;
  hpcd_USB_OTG_FS.Init.battery_charging_enable = DISABLE;
  hpcd_USB_OTG_FS.Init.use_dedicated_ep1 = DISABLE;
  hpcd_USB_OTG_FS.Init.vbus_sensing_enable = DISABLE;
  if (HAL_PCD_Init(&hpcd_USB_OTG_FS) != HAL_OK)
  {
    Error_Handler();
  }

}

static void MX_GPIO_Init(void)
{
  GPIO_InitTypeDef GPIO_InitStruct = {0};

  /* GPIO Ports Clock Enable */
  __HAL_RCC_GPIOE_CLK_ENABLE();
  __HAL_RCC_GPIOC_CLK_ENABLE();
  __HAL_RCC_GPIOA_CLK_ENABLE();
  __HAL_RCC_GPIOB_CLK_ENABLE();
  __HAL_RCC_GPIOD_CLK_ENABLE();

  /*Configure GPIO pin Output Level */
  HAL_GPIO_WritePin(GPIOE, M24SR64_Y_RF_DISABLE_Pin|M24SR64_Y_GPO_Pin|ISM43362_RST_Pin, GPIO_PIN_RESET);

  /*Configure GPIO pin Output Level */
  HAL_GPIO_WritePin(GPIOA, ARD_D10_Pin|SPBTLE_RF_RST_Pin|ARD_D9_Pin, GPIO_PIN_RESET);

  /*Configure GPIO pin Output Level */
  HAL_GPIO_WritePin(GPIOB, ARD_D8_Pin|ISM43362_BOOT0_Pin|ISM43362_WAKEUP_Pin|LED2_Pin
                          |SPSGRF_915_SDN_Pin|ARD_D5_Pin, GPIO_PIN_RESET);

  /*Configure GPIO pin Output Level */
  HAL_GPIO_WritePin(GPIOD, USB_OTG_FS_PWR_EN_Pin|PMOD_RESET_Pin|STSAFE_A100_RESET_Pin, GPIO_PIN_RESET);

  /*Configure GPIO pin Output Level */
  HAL_GPIO_WritePin(SPBTLE_RF_SPI3_CSN_GPIO_Port, SPBTLE_RF_SPI3_CSN_Pin, GPIO_PIN_SET);

  /*Configure GPIO pin Output Level */
  HAL_GPIO_WritePin(GPIOC, VL53L0X_XSHUT_Pin|LED3_WIFI__LED4_BLE_Pin, GPIO_PIN_RESET);

  /*Configure GPIO pin Output Level */
  HAL_GPIO_WritePin(SPSGRF_915_SPI3_CSN_GPIO_Port, SPSGRF_915_SPI3_CSN_Pin, GPIO_PIN_SET);

  /*Configure GPIO pin Output Level */
  HAL_GPIO_WritePin(ISM43362_SPI3_CSN_GPIO_Port, ISM43362_SPI3_CSN_Pin, GPIO_PIN_SET);

  /*Configure GPIO pins : M24SR64_Y_RF_DISABLE_Pin M24SR64_Y_GPO_Pin ISM43362_RST_Pin ISM43362_SPI3_CSN_Pin */
  GPIO_InitStruct.Pin = M24SR64_Y_RF_DISABLE_Pin|M24SR64_Y_GPO_Pin|ISM43362_RST_Pin|ISM43362_SPI3_CSN_Pin;
  GPIO_InitStruct.Mode = GPIO_MODE_OUTPUT_PP;
  GPIO_InitStruct.Pull = GPIO_NOPULL;
  GPIO_InitStruct.Speed = GPIO_SPEED_FREQ_LOW;
  HAL_GPIO_Init(GPIOE, &GPIO_InitStruct);

  /*Configure GPIO pins : USB_OTG_FS_OVRCR_EXTI3_Pin SPSGRF_915_GPIO3_EXTI5_Pin SPBTLE_RF_IRQ_EXTI6_Pin ISM43362_DRDY_EXTI1_Pin */
  GPIO_InitStruct.Pin = USB_OTG_FS_OVRCR_EXTI3_Pin|SPSGRF_915_GPIO3_EXTI5_Pin|SPBTLE_RF_IRQ_EXTI6_Pin|ISM43362_DRDY_EXTI1_Pin;
  GPIO_InitStruct.Mode = GPIO_MODE_IT_RISING;
  GPIO_InitStruct.Pull = GPIO_NOPULL;
  HAL_GPIO_Init(GPIOE, &GPIO_InitStruct);

  /*Configure GPIO pin : BUTTON_EXTI13_Pin */
  GPIO_InitStruct.Pin = BUTTON_EXTI13_Pin;
  GPIO_InitStruct.Mode = GPIO_MODE_IT_FALLING;
  GPIO_InitStruct.Pull = GPIO_NOPULL;
  HAL_GPIO_Init(BUTTON_EXTI13_GPIO_Port, &GPIO_InitStruct);

  /*Configure GPIO pins : ARD_A5_Pin ARD_A4_Pin ARD_A3_Pin ARD_A2_Pin
                           ARD_A1_Pin ARD_A0_Pin */
  GPIO_InitStruct.Pin = ARD_A5_Pin|ARD_A4_Pin|ARD_A3_Pin|ARD_A2_Pin
                          |ARD_A1_Pin|ARD_A0_Pin;
  GPIO_InitStruct.Mode = GPIO_MODE_ANALOG_ADC_CONTROL;
  GPIO_InitStruct.Pull = GPIO_NOPULL;
  HAL_GPIO_Init(GPIOC, &GPIO_InitStruct);

  /*Configure GPIO pins : ARD_D1_Pin ARD_D0_Pin */
  GPIO_InitStruct.Pin = ARD_D1_Pin|ARD_D0_Pin;
  GPIO_InitStruct.Mode = GPIO_MODE_AF_PP;
  GPIO_InitStruct.Pull = GPIO_NOPULL;
  GPIO_InitStruct.Speed = GPIO_SPEED_FREQ_VERY_HIGH;
  GPIO_InitStruct.Alternate = GPIO_AF8_UART4;
  HAL_GPIO_Init(GPIOA, &GPIO_InitStruct);

  /*Configure GPIO pins : ARD_D10_Pin SPBTLE_RF_RST_Pin ARD_D9_Pin */
  GPIO_InitStruct.Pin = ARD_D10_Pin|SPBTLE_RF_RST_Pin|ARD_D9_Pin;
  GPIO_InitStruct.Mode = GPIO_MODE_OUTPUT_PP;
  GPIO_InitStruct.Pull = GPIO_NOPULL;
  GPIO_InitStruct.Speed = GPIO_SPEED_FREQ_LOW;
  HAL_GPIO_Init(GPIOA, &GPIO_InitStruct);

  /*Configure GPIO pin : ARD_D4_Pin */
  GPIO_InitStruct.Pin = ARD_D4_Pin;
  GPIO_InitStruct.Mode = GPIO_MODE_AF_PP;
  GPIO_InitStruct.Pull = GPIO_NOPULL;
  GPIO_InitStruct.Speed = GPIO_SPEED_FREQ_LOW;
  GPIO_InitStruct.Alternate = GPIO_AF1_TIM2;
  HAL_GPIO_Init(ARD_D4_GPIO_Port, &GPIO_InitStruct);

  /*Configure GPIO pin : ARD_D7_Pin */
  GPIO_InitStruct.Pin = ARD_D7_Pin;
  GPIO_InitStruct.Mode = GPIO_MODE_ANALOG_ADC_CONTROL;
  GPIO_InitStruct.Pull = GPIO_NOPULL;
  HAL_GPIO_Init(ARD_D7_GPIO_Port, &GPIO_InitStruct);

  /*Configure GPIO pins : ARD_D13_Pin ARD_D12_Pin ARD_D11_Pin */
  GPIO_InitStruct.Pin = ARD_D13_Pin|ARD_D12_Pin|ARD_D11_Pin;
  GPIO_InitStruct.Mode = GPIO_MODE_AF_PP;
  GPIO_InitStruct.Pull = GPIO_NOPULL;
  GPIO_InitStruct.Speed = GPIO_SPEED_FREQ_VERY_HIGH;
  GPIO_InitStruct.Alternate = GPIO_AF5_SPI1;
  HAL_GPIO_Init(GPIOA, &GPIO_InitStruct);

  /*Configure GPIO pin : ARD_D3_Pin */
  GPIO_InitStruct.Pin = ARD_D3_Pin;
  GPIO_InitStruct.Mode = GPIO_MODE_IT_RISING;
  GPIO_InitStruct.Pull = GPIO_NOPULL;
  HAL_GPIO_Init(ARD_D3_GPIO_Port, &GPIO_InitStruct);

  /*Configure GPIO pin : ARD_D6_Pin */
  GPIO_InitStruct.Pin = ARD_D6_Pin;
  GPIO_InitStruct.Mode = GPIO_MODE_ANALOG_ADC_CONTROL;
  GPIO_InitStruct.Pull = GPIO_NOPULL;
  HAL_GPIO_Init(ARD_D6_GPIO_Port, &GPIO_InitStruct);

  /*Configure GPIO pins : ARD_D8_Pin ISM43362_BOOT0_Pin ISM43362_WAKEUP_Pin LED2_Pin
                           SPSGRF_915_SDN_Pin ARD_D5_Pin SPSGRF_915_SPI3_CSN_Pin */
  GPIO_InitStruct.Pin = ARD_D8_Pin|ISM43362_BOOT0_Pin|ISM43362_WAKEUP_Pin|LED2_Pin
                          |SPSGRF_915_SDN_Pin|ARD_D5_Pin|SPSGRF_915_SPI3_CSN_Pin;
  GPIO_InitStruct.Mode = GPIO_MODE_OUTPUT_PP;
  GPIO_InitStruct.Pull = GPIO_NOPULL;
  GPIO_InitStruct.Speed = GPIO_SPEED_FREQ_LOW;
  HAL_GPIO_Init(GPIOB, &GPIO_InitStruct);

  /*Configure GPIO pins : LPS22HB_INT_DRDY_EXTI0_Pin LSM6DSL_INT1_EXTI11_Pin ARD_D2_Pin HTS221_DRDY_EXTI15_Pin
                           PMOD_IRQ_EXTI12_Pin */
  GPIO_InitStruct.Pin = LPS22HB_INT_DRDY_EXTI0_Pin|LSM6DSL_INT1_EXTI11_Pin|ARD_D2_Pin|HTS221_DRDY_EXTI15_Pin
                          |PMOD_IRQ_EXTI12_Pin;
  GPIO_InitStruct.Mode = GPIO_MODE_IT_RISING;
  GPIO_InitStruct.Pull = GPIO_NOPULL;
  HAL_GPIO_Init(GPIOD, &GPIO_InitStruct);

  /*Configure GPIO pins : USB_OTG_FS_PWR_EN_Pin SPBTLE_RF_SPI3_CSN_Pin PMOD_RESET_Pin STSAFE_A100_RESET_Pin */
  GPIO_InitStruct.Pin = USB_OTG_FS_PWR_EN_Pin|SPBTLE_RF_SPI3_CSN_Pin|PMOD_RESET_Pin|STSAFE_A100_RESET_Pin;
  GPIO_InitStruct.Mode = GPIO_MODE_OUTPUT_PP;
  GPIO_InitStruct.Pull = GPIO_NOPULL;
  GPIO_InitStruct.Speed = GPIO_SPEED_FREQ_LOW;
  HAL_GPIO_Init(GPIOD, &GPIO_InitStruct);

  /*Configure GPIO pins : VL53L0X_XSHUT_Pin LED3_WIFI__LED4_BLE_Pin */
  GPIO_InitStruct.Pin = VL53L0X_XSHUT_Pin|LED3_WIFI__LED4_BLE_Pin;
  GPIO_InitStruct.Mode = GPIO_MODE_OUTPUT_PP;
  GPIO_InitStruct.Pull = GPIO_NOPULL;
  GPIO_InitStruct.Speed = GPIO_SPEED_FREQ_LOW;
  HAL_GPIO_Init(GPIOC, &GPIO_InitStruct);

  /*Configure GPIO pins : VL53L0X_GPIO1_EXTI7_Pin LSM3MDL_DRDY_EXTI8_Pin */
  GPIO_InitStruct.Pin = VL53L0X_GPIO1_EXTI7_Pin|LSM3MDL_DRDY_EXTI8_Pin;
  GPIO_InitStruct.Mode = GPIO_MODE_IT_RISING;
  GPIO_InitStruct.Pull = GPIO_NOPULL;
  HAL_GPIO_Init(GPIOC, &GPIO_InitStruct);

  /*Configure GPIO pin : PMOD_SPI2_SCK_Pin */
  GPIO_InitStruct.Pin = PMOD_SPI2_SCK_Pin;
  GPIO_InitStruct.Mode = GPIO_MODE_AF_PP;
  GPIO_InitStruct.Pull = GPIO_NOPULL;
  GPIO_InitStruct.Speed = GPIO_SPEED_FREQ_VERY_HIGH;
  GPIO_InitStruct.Alternate = GPIO_AF5_SPI2;
  HAL_GPIO_Init(PMOD_SPI2_SCK_GPIO_Port, &GPIO_InitStruct);

  /*Configure GPIO pins : PMOD_UART2_CTS_Pin PMOD_UART2_RTS_Pin PMOD_UART2_TX_Pin PMOD_UART2_RX_Pin */
  GPIO_InitStruct.Pin = PMOD_UART2_CTS_Pin|PMOD_UART2_RTS_Pin|PMOD_UART2_TX_Pin|PMOD_UART2_RX_Pin;
  GPIO_InitStruct.Mode = GPIO_MODE_AF_PP;
  GPIO_InitStruct.Pull = GPIO_NOPULL;
  GPIO_InitStruct.Speed = GPIO_SPEED_FREQ_VERY_HIGH;
  GPIO_InitStruct.Alternate = GPIO_AF7_USART2;
  HAL_GPIO_Init(GPIOD, &GPIO_InitStruct);

  /*Configure GPIO pins : ARD_D15_Pin ARD_D14_Pin */
  GPIO_InitStruct.Pin = ARD_D15_Pin|ARD_D14_Pin;
  GPIO_InitStruct.Mode = GPIO_MODE_AF_OD;
  GPIO_InitStruct.Pull = GPIO_NOPULL;
  GPIO_InitStruct.Speed = GPIO_SPEED_FREQ_VERY_HIGH;
  GPIO_InitStruct.Alternate = GPIO_AF4_I2C1;
  HAL_GPIO_Init(GPIOB, &GPIO_InitStruct);

  /* EXTI interrupt init*/
  HAL_NVIC_SetPriority(EXTI9_5_IRQn, 0, 0);
  HAL_NVIC_EnableIRQ(EXTI9_5_IRQn);

  HAL_NVIC_SetPriority(EXTI15_10_IRQn, 0, 0);
  HAL_NVIC_EnableIRQ(EXTI15_10_IRQn);

}

/* USER CODE BEGIN 4 */
/**
  * @brief  Retargets the C library printf function to the USART.
  *   None
  * @retval None
  */
PUTCHAR_PROTOTYPE
{
  /* Place your implementation of fputc here */
  /* e.g. write a character to the USART1 and Loop until the end of transmission */
  HAL_UART_Transmit(&huart1, (uint8_t *)&ch, 1, 0xFFFF);

  return ch;
}
/* USER CODE END 4 */

void Error_Handler(void)
{
  __disable_irq();
  while (1)
  {
  }
}
